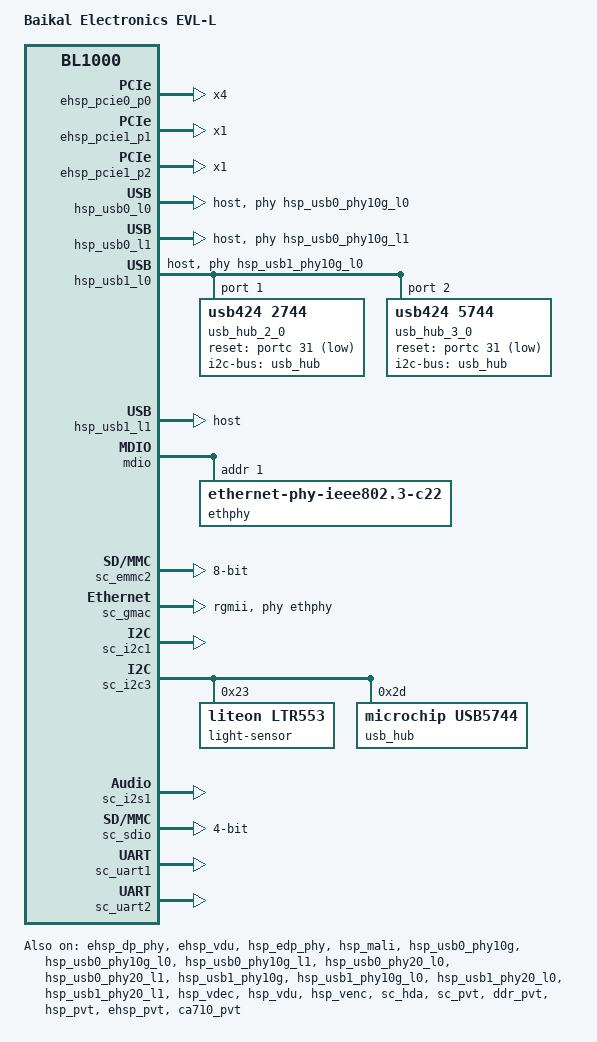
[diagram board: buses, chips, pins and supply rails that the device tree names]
// SPDX-License-Identifier: GPL-2.0
/*
 * Device tree source for Baikal Electronics EVL-L v1.0 board
 * Copyright (C) 2026 Baikal Electronics, JSC
 */

/dts-v1/;

#include "bl1000.dtsi"

/ {
	model = "Baikal Electronics EVL-L";
	compatible = "baikal,evl-l", "baikal,bl1000";

	aliases {
		ethernet0 = &sc_gmac;
	};

	cpus {
		baikal,demand-qos = <10>;
		baikal,prefetch-qos = <8>;
		cpu@0 {
			baikal,enable-cbusy-tuning = <1>;
		};
		cpu@100 {
			baikal,enable-cbusy-tuning = <1>;
		};
		cpu@200 {
			baikal,enable-cbusy-tuning = <1>;
		};
		cpu@300 {
			baikal,enable-cbusy-tuning = <1>;
		};
	};

	chosen { };
};

&ehsp_dp_phy {
	status = "okay";
};

&ehsp_pcie0_p0 { /* Connected to M.2 Key M */
	status = "okay";
	num-lanes = <4>;
};

&ehsp_pcie1_p1 { /* Connected to PCIe-SATA controller */
	num-lanes = <1>;
};

&ehsp_pcie1_p2 { /* Connected to M.2 Key E */
	num-lanes = <1>;
};

&ehsp_vdu {
	status = "okay";
	baikal,dp-lanes = <4>;
	baikal,arqos = <15>;
};

&hsp_dmac {
	status = "okay";
};

&hsp_edp_phy {
	status = "okay";
};

&hsp_gpio32 {
	status = "okay";
};

&hsp_lsp_pinctrl0 {
	status = "okay";
};

&hsp_lsp_pinctrl1 {
	status = "okay";
};

&hsp_lsp_pinctrl2 {
	status = "okay";
};

&hsp_mali {
	status = "okay";
	baikal,arqos = <10>;
	baikal,awqos = <10>;
};

&hsp_usb0_l0 { /* Type C */
	status = "okay";
	dr_mode = "host";
	maximum-speed = "super-speed";
	phys = <&hsp_usb0_phy10g_l0>;
	phy-names = "cdns3,usb3-phy";
};

&hsp_usb0_l1 {
	status = "okay";
	dr_mode = "host";
	maximum-speed = "super-speed";
	phys = <&hsp_usb0_phy10g_l1>;
	phy-names = "cdns3,usb3-phy";
};

&hsp_usb0_phy10g {
	status = "okay";
};

&hsp_usb0_phy10g_l0 {
	status = "okay";
};

&hsp_usb0_phy10g_l1 {
	status = "okay";
};

&hsp_usb0_phy20_l0 {
	compatible = "cdns3,usb2-phy";
	status = "okay";
};

&hsp_usb0_phy20_l1 {
	compatible = "cdns3,usb2-phy";
	status = "okay";
};

&hsp_usb1_l0 { /* Connected to USB HUB */
	status = "okay";
	dr_mode = "host";
	maximum-speed = "super-speed";
	phys = <&hsp_usb1_phy10g_l0>;
	phy-names = "cdns3,usb3-phy";
	pinctrl = <&sc_lsp_pin31_gpio32>;
	#address-cells = <1>;
	#size-cells = <0>;

	/* 2.0 hub on port 1 */
	usb_hub_2_0: hub@1 {
		compatible = "usb424,2744";
		reg = <1>;
		peer-hub = <&usb_hub_3_0>;
		i2c-bus = <&usb_hub>;
		reset-gpios = <&portc 31 GPIO_ACTIVE_LOW>;
	};

	/* 3.0 hub on port 2 */
	usb_hub_3_0: hub@2 {
		compatible = "usb424,5744";
		reg = <2>;
		peer-hub = <&usb_hub_2_0>;
		i2c-bus = <&usb_hub>;
		reset-gpios = <&portc 31 GPIO_ACTIVE_LOW>;
	};
};

&hsp_usb1_l1 { /* Connected to M.2 Key E */
	status = "okay";
	dr_mode = "host";
	maximum-speed = "high-speed";
};

&hsp_usb1_phy10g {
	status = "okay";
};

&hsp_usb1_phy10g_l0 {
	status = "okay";
};

&hsp_usb1_phy20_l0 {
	compatible = "cdns3,usb2-phy";
	status = "okay";
};

&hsp_usb1_phy20_l1 {
	compatible = "cdns3,usb2-phy";
	status = "okay";
};

&hsp_vdec {
	status = "okay";
	baikal,arqos = <8>;
	baikal,awqos = <8>;
};

&hsp_vdu {
	status = "okay";
	baikal,dp-lanes = <4>;
	baikal,arqos = <15>;
	backlight {
		min-brightness-level = <10>;
		default-brightness-level = <60>;
		brightness-level-step = <2>;
		pwm-frequency = <20000>;
	};
};

&hsp_venc {
	status = "okay";
};

&mdio {
	interrupt-parent = <&portf>;
	interrupts = <15 IRQ_TYPE_LEVEL_LOW>;
	pinctrl = <&hsp_lsp_pin15_gpio32>;

	ethphy: ethernet-phy@1 {
		compatible = "ethernet-phy-ieee802.3-c22";
		reg = <0x1>;
	};
};

&sc_dmac {
	status = "okay";
};

&sc_emmc2 {
	status = "okay";
	pinctrl = <&sc_emmc_mux_emmc2>,
		  <&sc_emmc_hc2_1_8v>,
		  <&sc_emmc_hc2_mem_pwrup>,
		  <&sc_emmc_pu_hc2_cmd_dat_0_7>,
		  <&sc_emmc_pd_hc2_dqs>;
	bus-width = <8>;
	wp-inverted;
};

&sc_emmc_pinctrl {
	status = "okay";
};

&sc_emmc_pu_pinctrl {
	status = "okay";
};

&sc_emmc_pd_pinctrl {
	status = "okay";
};

&sc_gmac {
	status = "okay";
	pinctrl = <&sc_gmac_sdio_bit0_mode1>,
		  <&hsp_lsp_pin14_gpio32>;

	phy-handle = <&ethphy>;
	phy-mode = "rgmii";

	snps,reset-gpios = <&portf 14 GPIO_ACTIVE_LOW>;
	reset-delay-us = <0 10200 1000>;
};

&sc_gmac_sdio_pinctrl {
	status = "okay";
};

&sc_gpio32 {
	status = "okay";
};

&sc_hda {
	status = "okay";
	pinctrl = <&sc_lsp_pin14_hda_rst>,
		  <&sc_lsp_pin15_hda_sync>,
		  <&sc_lsp_pin16_hda_bclk>,
		  <&sc_lsp_pin17_hda_sdo0>,
		  <&sc_lsp_pin18_hda_sdi0>,
		  <&sc_lsp_pin19_hda_sdo1>,
		  <&sc_lsp_pin20_hda_sdi1>;
};

&sc_i2c1 { /* Connected to DIMM SPDs */
	status = "okay";
	pinctrl = <&sc_lsp_pin0_i2c1_smbalert>,
		  <&sc_lsp_pin2_i2c1_scl>,
		  <&sc_lsp_pin3_i2c1_sda>;
};

&sc_i2c3 {
	status = "okay";
	pinctrl = <&sc_lsp_pin6_i2c3_scl>,
		  <&sc_lsp_pin7_i2c3_sda>;

	light-sensor@23 {
		compatible = "liteon,ltr553";
		reg = <0x23>;
	};

	usb_hub: usb-hub@2d {
		compatible = "microchip,usb5744";
		reg = <0x2d>;
	};
};

&sc_i2s1 { /* Connected to M.2 Key E */
	status = "okay";
	system-clock-frequency = <24000000>;
	pinctrl = <&sc_lsp_pin21_i2s1_sck>,
		  <&sc_lsp_pin22_i2s1_ws>,
		  <&sc_lsp_pin23_i2s1_sdo>,
		  <&sc_lsp_pin24_i2s1_sdi>;
};

&sc_lsp_pinctrl0 {
	status = "okay";
};

&sc_lsp_pinctrl1 {
	status = "okay";
};

&sc_lsp_pinctrl2 {
	status = "okay";
};

&sc_sdio { /* Connected to M.2 Key E */
	status = "okay";
	pinctrl = <&sc_gmac_sdio_bit1_mode1>;
	bus-width = <4>;
	max-frequency = <25000000>;
};

&sc_uart1 { /* Connected to M.2 Key E */
	status = "okay";
	pinctrl = <&sc_lsp_pin10_uart1_rxd>,
		  <&sc_lsp_pin11_uart1_txd>;
};

&sc_uart2 { /* Connected to USB-UART bridge (CP2105) */
	status = "okay";
	pinctrl = <&sc_lsp_pin12_uart2_rxd>,
		  <&sc_lsp_pin13_uart2_txd>;
};

&sc_pvt {
	status = "okay";
};

&ddr_pvt {
	status = "okay";
};

&hsp_pvt {
	status = "okay";
};

&ehsp_pvt {
	status = "okay";
};

&ca710_pvt {
	status = "okay";
};
